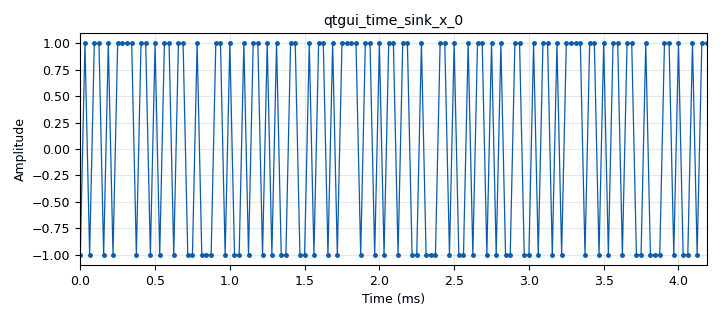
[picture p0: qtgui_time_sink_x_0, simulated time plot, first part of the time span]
options:
  parameters:
    author: Peter Mathys
    category: Custom
    description: Conversion from bytes to M-ary symbols
    generate_options: qt_gui
    id: byte2sym
    output_language: python
    title: Byte to Float Symbols
  states: {}

blocks:
- name: M
  id: variable
  parameters:
    value: 2**bits_per_symbol
  states: {}
- name: baud_delay
  id: variable_qtgui_range
  parameters:
    label: Baud delay
    min_len: '8'
    orient: Qt.Horizontal
    rangeType: int
    start: '0'
    step: '1'
    stop: '8'
    value: '0'
  states: {}
- name: bits_per_symbol
  id: variable_qtgui_range
  parameters:
    label: Bits per symbol
    min_len: '256'
    orient: Qt.Horizontal
    rangeType: int
    start: '1'
    step: '1'
    stop: '256'
    value: '1'
  states: {}
- name: invert
  id: variable_qtgui_chooser
  parameters:
    label: Invert Bits
    label0: No Invert
    label1: Invert
    num_opts: '2'
    option1: '1'
    type: int
    value: '0'
  states: {}
- name: polar
  id: variable_qtgui_chooser
  parameters:
    label0: unipolar
    label1: polar
    num_opts: '2'
    option1: '1'
    type: int
    value: '1'
  states: {}
- name: samp_rate
  id: variable
  parameters:
    value: '32000'
  states: {}
- name: tag
  id: variable_tag_object
  parameters:
    key: pmt.intern("Z")
    offset: '0'
    src: pmt.intern("Vsrc")
    value: pmt.intern("0x5a")
  states: {}
- name: bit_endianess
  id: parameter
  parameters:
    label: LSB first
    type: intx
    value: '1'
  states: {}
- name: bits_to_use_per_byte_mask
  id: parameter
  parameters:
    label: Bits to use per byte mask
    type: intx
    value: '255'
  states: {}
- name: blocks_add_const_vxx_0
  id: blocks_add_const_vxx
  parameters:
    const: '-polar*(M-1)+(1-polar)*0'
    type: float
  states: {}
- name: blocks_add_const_vxx_1
  id: blocks_add_const_vxx
  parameters:
    const: polar*(M-1)-(1-polar)*0
    type: float
  states: {}
- name: blocks_and_const_xx_0
  id: blocks_and_const_xx
  parameters:
    const: bits_to_use_per_byte_mask
    type: byte
  states: {}
- name: blocks_and_const_xx_0_0
  id: blocks_and_const_xx
  parameters:
    const: bits_to_use_per_byte_mask
    type: byte
  states: {}
- name: blocks_char_to_float_0
  id: blocks_char_to_float
  parameters:
    scale: polar*0.5+(1-polar)
  states: {}
- name: blocks_delay_0
  id: blocks_delay
  parameters:
    delay: baud_delay
    type: byte
  states: {}
- name: blocks_file_sink_0
  id: blocks_file_sink
  parameters:
    file: /dev/pts/1
    type: byte
  states: {}
- name: blocks_float_to_char_0
  id: blocks_float_to_char
  parameters:
    scale: polar*0.5+(1-polar)
  states: {}
- name: blocks_multiply_const_vxx_0
  id: blocks_multiply_const_vxx
  parameters:
    const: gain
    type: float
  states: {}
- name: blocks_packed_to_unpacked_xx_0
  id: blocks_packed_to_unpacked_xx
  parameters:
    bits_per_chunk: bits_per_symbol
    endianness: gr.GR_LSB_FIRST
    type: byte
  states: {}
- name: blocks_throttle_0
  id: blocks_throttle
  parameters:
    samples_per_second: samp_rate
    type: float
  states: {}
- name: blocks_unpacked_to_packed_xx_0
  id: blocks_unpacked_to_packed_xx
  parameters:
    bits_per_chunk: bits_per_symbol
    endianness: gr.GR_LSB_FIRST
    type: byte
  states: {}
- name: blocks_vector_source_x_0
  id: blocks_vector_source_x
  parameters:
    repeat: 'True'
    tags: '[tag]'
    type: byte
    vector: list(ord(i) for i in 'Zombie')
  states: {}
- name: digital_map_bb_1
  id: digital_map_bb
  parameters:
    map: invert*list(2**8-1-i for i in range(2**8))+(1-invert)*list(range(2**8))
  states: {}
- name: digital_map_bb_1_0
  id: digital_map_bb
  parameters:
    map: invert*list(2**8-1-i for i in range(2**8))+(1-invert)*list(range(2**8))
  states: {}
- name: gain
  id: parameter
  parameters:
    label: Gain
    type: intx
    value: '1'
  states: {}
- name: qtgui_time_sink_x_0
  id: qtgui_time_sink_x
  parameters:
    autoscale: 'True'
    ctrlpanel: 'True'
    label1: ''
    marker1: '0'
    size: '1024'
    srate: samp_rate
    tr_mode: qtgui.TRIG_MODE_TAG
    tr_tag: '"Z"'
    type: float
  states: {}

connections:
- [blocks_add_const_vxx_0, '0', blocks_throttle_0, '0']
- [blocks_add_const_vxx_1, '0', blocks_float_to_char_0, '0']
- [blocks_and_const_xx_0, '0', digital_map_bb_1, '0']
- [blocks_and_const_xx_0_0, '0', blocks_file_sink_0, '0']
- [blocks_char_to_float_0, '0', blocks_add_const_vxx_0, '0']
- [blocks_delay_0, '0', blocks_unpacked_to_packed_xx_0, '0']
- [blocks_float_to_char_0, '0', blocks_delay_0, '0']
- [blocks_multiply_const_vxx_0, '0', blocks_add_const_vxx_1, '0']
- [blocks_packed_to_unpacked_xx_0, '0', blocks_char_to_float_0, '0']
- [blocks_throttle_0, '0', blocks_multiply_const_vxx_0, '0']
- [blocks_throttle_0, '0', qtgui_time_sink_x_0, '0']
- [blocks_unpacked_to_packed_xx_0, '0', digital_map_bb_1_0, '0']
- [blocks_vector_source_x_0, '0', blocks_and_const_xx_0, '0']
- [digital_map_bb_1, '0', blocks_packed_to_unpacked_xx_0, '0']
- [digital_map_bb_1_0, '0', blocks_and_const_xx_0_0, '0']

metadata:
  file_format: 1
